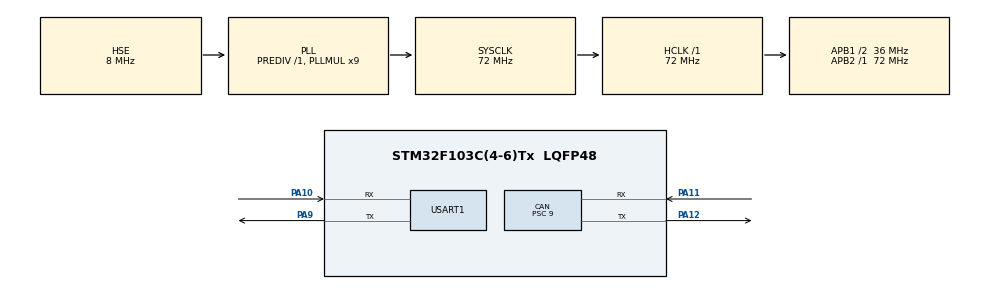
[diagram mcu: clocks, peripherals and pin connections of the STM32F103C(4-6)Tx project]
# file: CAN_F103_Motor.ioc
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CAN.BS1=CAN_BS1_5TQ
CAN.BS2=CAN_BS2_2TQ
CAN.CalculateBaudRate=500000
CAN.CalculateTimeBit=2000
CAN.CalculateTimeQuantum=250.0
CAN.Prescaler=9
Mcu.Family=STM32F1
Mcu.Name=STM32F103C(4-6)Tx
Mcu.Package=LQFP48
NVIC.PriorityGroup=NVIC_PRIORITYGROUP_4
NVIC.USB_LP_CAN1_RX0_IRQn=true\:0\:0\:false\:false\:true\:true\:true\:true
PA10.Mode=Asynchronous
PA10.Signal=USART1_RX
PA11.Mode=CAN_Activate
PA11.Signal=CAN_RX
PA12.Mode=CAN_Activate
PA12.Signal=CAN_TX
PA13.Mode=Serial_Wire
PA13.Signal=SYS_JTMS-SWDIO
PA14.Mode=Serial_Wire
PA14.Signal=SYS_JTCK-SWCLK
PA9.Mode=Asynchronous
PA9.Signal=USART1_TX
PD0-OSC_IN.Mode=HSE-External-Oscillator
PD0-OSC_IN.Signal=RCC_OSC_IN
PD1-OSC_OUT.Mode=HSE-External-Oscillator
PD1-OSC_OUT.Signal=RCC_OSC_OUT
ProjectManager.HeapSize=0x200
ProjectManager.StackSize=0x400
ProjectManager.TargetToolchain=STM32CubeIDE
RCC.AHBFreq_Value=72000000
RCC.APB1CLKDivider=RCC_HCLK_DIV2
RCC.APB1Freq_Value=36000000
RCC.APB1TimFreq_Value=72000000
RCC.APB2Freq_Value=72000000
RCC.APB2TimFreq_Value=72000000
RCC.HCLKFreq_Value=72000000
RCC.PLLMUL=RCC_PLL_MUL9
RCC.PLLSourceVirtual=RCC_PLLSOURCE_HSE
RCC.SYSCLKFreq_VALUE=72000000
RCC.SYSCLKSource=RCC_SYSCLKSOURCE_PLLCLK
RCC.USBFreq_Value=72000000
USART1.VirtualMode=VM_ASYNC
board=custom

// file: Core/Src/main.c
/* USER CODE BEGIN Header */
/**
 ******************************************************************************
 * @file           : main.c
 * @brief          : Main program body
 ******************************************************************************
 * @attention
 *
 * Copyright (c) 2023 STMicroelectronics.
 * All rights reserved.
 *
 * This software is licensed under terms that can be found in the LICENSE file
 * in the root directory of this software component.
 * If no LICENSE file comes with this software, it is provided AS-IS.
 *
 ******************************************************************************
 */
/* USER CODE END Header */
#include "main.h"

CAN_HandleTypeDef hcan;

UART_HandleTypeDef huart1;

/* USER CODE BEGIN PV */
CAN_TxHeaderTypeDef TxHeader;
CAN_RxHeaderTypeDef RxHeader;

uint8_t TxData[8];
uint8_t RxData[8];

uint32_t TxMailbox;

char message[100];
/* USER CODE END PV */

void SystemClock_Config(void);
static void MX_GPIO_Init(void);
static void MX_CAN_Init(void);
static void MX_USART1_UART_Init(void);
/* USER CODE BEGIN PFP */
void HAL_CAN_RxFifo0MsgPendingCallback(CAN_HandleTypeDef *hcan) {
	HAL_CAN_GetRxMessage(hcan, CAN_RX_FIFO0, &RxHeader, RxData);

	int j=0;
	j = sprintf(message, "%s ", "Speed");
	j += sprintf(message+j, "%d \r\n", RxData[4]);

	HAL_UART_Transmit(&huart1,(uint8_t *)message,strlen(message),100);
}
/* USER CODE END PFP */

int main(void) {

	/* MCU Configuration--------------------------------------------------------*/

	/* Reset of all peripherals, Initializes the Flash interface and the Systick. */
	HAL_Init();

	/* Configure the system clock */
	SystemClock_Config();

	/* Initialize all configured peripherals */
	MX_GPIO_Init();
	MX_CAN_Init();
	MX_USART1_UART_Init();
	/* USER CODE BEGIN 2 */
	HAL_CAN_Start(&hcan);

	HAL_CAN_ActivateNotification(&hcan, CAN_IT_RX_FIFO0_MSG_PENDING);

	TxHeader.DLC = 2;
	TxHeader.IDE = CAN_ID_STD;
	TxHeader.RTR = CAN_RTR_DATA;
	TxHeader.StdId = 0x000;

	uint8_t reset[] = { 01, 82 };
	HAL_CAN_AddTxMessage(&hcan, &TxHeader, reset, &TxMailbox);

	uint8_t operationalmode[] = { 01, 01 };
	HAL_CAN_AddTxMessage(&hcan, &TxHeader, operationalmode, &TxMailbox);
	HAL_Delay(1000);

	TxHeader.DLC = 8;
	TxHeader.StdId = 0x601;
	uint8_t synchronousMode[] = { 0x2B, 0x0F, 0x20, 0x00, 0x00, 0x00, 0x00, 0x00 };// set asynchronous mode
	uint8_t velocityMode[] = { 0x2F, 0x60, 0x60, 0x00, 0x03, 0x00, 0x00, 0x00 };// set asynchronous mode
	uint8_t accOfLeftMotor[] = { 0x23, 0x83, 0x60, 0x01, 0x64, 0x00, 0x00, 0x00 };// set asynchronous mode
	uint8_t accOfRightMotor[] = { 0x23, 0x83, 0x60, 0x02, 0x64, 0x00, 0x00, 0x00 };// set asynchronous mode
	uint8_t decOfLeftMotor[] = { 0x23, 0x84, 0x60, 0x01, 0x64, 0x00, 0x00, 0x00 };// set asynchronous mode
	uint8_t decOfRightMotor[] = { 0x23, 0x84, 0x60, 0x02, 0x64, 0x00, 0x00, 0x00 };// set asynchronous mode
	uint8_t enable1[] = { 0x2B, 0x40, 0x60, 0x00, 0x06, 0x00, 0x00, 0x00 };// set asynchronous mode
	uint8_t enable2[] = { 0x2B, 0x40, 0x60, 0x00, 0x07, 0x00, 0x00, 0x00 };// set asynchronous mode
	uint8_t enable3[] = { 0x2B, 0x40, 0x60, 0x00, 0x0F, 0x00, 0x00, 0x00 };// set asynchronous mode
	uint8_t speedOfLeftMotor[] = { 0x23, 0xFF, 0x60, 0x01, 0x0A, 0x00, 0x00, 0x00 };// set asynchronous mode
	//uint8_t speedOfRightMotor[] = { 0x23, 0xFF, 0x60, 0x01, 0x00, 0x00, 0x00, 0x00 };// set asynchronous mode
	uint8_t stopLeftMotor[] = { 0x2B, 0x40, 0x60, 0x00, 0x00, 0x00, 0x00, 0x00 };// set asynchronous mode

	HAL_CAN_AddTxMessage(&hcan, &TxHeader, synchronousMode, &TxMailbox);
	HAL_Delay(1000);
	HAL_CAN_AddTxMessage(&hcan, &TxHeader, velocityMode, &TxMailbox);
	HAL_Delay(1000);
	HAL_CAN_AddTxMessage(&hcan, &TxHeader, accOfLeftMotor, &TxMailbox);
	HAL_Delay(1000);
	HAL_CAN_AddTxMessage(&hcan, &TxHeader, accOfRightMotor, &TxMailbox);
	HAL_Delay(1000);
	HAL_CAN_AddTxMessage(&hcan, &TxHeader, decOfLeftMotor, &TxMailbox);
	HAL_Delay(1000);
	HAL_CAN_AddTxMessage(&hcan, &TxHeader, decOfRightMotor, &TxMailbox);
	HAL_Delay(1000);
	HAL_CAN_AddTxMessage(&hcan, &TxHeader, enable1, &TxMailbox);
	HAL_Delay(1000);
	HAL_CAN_AddTxMessage(&hcan, &TxHeader, enable2, &TxMailbox);
	HAL_Delay(1000);
	HAL_CAN_AddTxMessage(&hcan, &TxHeader, enable3, &TxMailbox);
	HAL_Delay(1000);
	HAL_CAN_AddTxMessage(&hcan, &TxHeader, speedOfLeftMotor, &TxMailbox);
	HAL_Delay(5000);

//	TxHeader.DLC = 8;
//	TxHeader.StdId = 0x601;
//	uint8_t speed[] = { 0x40, 0x6C, 0x60, 0x01, 0x00, 0x00, 0x00, 0x00 };// set heart beat rate
//	HAL_CAN_AddTxMessage(&hcan, &TxHeader, heartbeat, &TxMailbox);
	/* USER CODE END 2 */

	/* Infinite loop */
	while (1) {

		/* USER CODE BEGIN 3 */
		HAL_Delay(10000);
		HAL_CAN_AddTxMessage(&hcan, &TxHeader, stopLeftMotor, &TxMailbox);

//		TxHeader.DLC = 8;
//		TxHeader.StdId = 0x601;
//		uint8_t speed[] = { 0x40, 0x6C, 0x60, 0x01, 0x00, 0x00, 0x00, 0x00 };// set heart beat rate
//		HAL_CAN_AddTxMessage(&hcan, &TxHeader, speed, &TxMailbox);
//		HAL_Delay(1000);
	}
	/* USER CODE END 3 */
}

void SystemClock_Config(void) {
	RCC_OscInitTypeDef RCC_OscInitStruct = { 0 };
	RCC_ClkInitTypeDef RCC_ClkInitStruct = { 0 };

	/** Initializes the RCC Oscillators according to the specified parameters
	 * in the RCC_OscInitTypeDef structure.
	 */
	RCC_OscInitStruct.OscillatorType = RCC_OSCILLATORTYPE_HSE;
	RCC_OscInitStruct.HSEState = RCC_HSE_ON;
	RCC_OscInitStruct.HSEPredivValue = RCC_HSE_PREDIV_DIV1;
	RCC_OscInitStruct.HSIState = RCC_HSI_ON;
	RCC_OscInitStruct.PLL.PLLState = RCC_PLL_ON;
	RCC_OscInitStruct.PLL.PLLSource = RCC_PLLSOURCE_HSE;
	RCC_OscInitStruct.PLL.PLLMUL = RCC_PLL_MUL9;
	if (HAL_RCC_OscConfig(&RCC_OscInitStruct) != HAL_OK) {
		Error_Handler();
	}

	/** Initializes the CPU, AHB and APB buses clocks
	 */
	RCC_ClkInitStruct.ClockType = RCC_CLOCKTYPE_HCLK | RCC_CLOCKTYPE_SYSCLK
			| RCC_CLOCKTYPE_PCLK1 | RCC_CLOCKTYPE_PCLK2;
	RCC_ClkInitStruct.SYSCLKSource = RCC_SYSCLKSOURCE_PLLCLK;
	RCC_ClkInitStruct.AHBCLKDivider = RCC_SYSCLK_DIV1;
	RCC_ClkInitStruct.APB1CLKDivider = RCC_HCLK_DIV2;
	RCC_ClkInitStruct.APB2CLKDivider = RCC_HCLK_DIV1;

	if (HAL_RCC_ClockConfig(&RCC_ClkInitStruct, FLASH_LATENCY_2) != HAL_OK) {
		Error_Handler();
	}
}

static void MX_CAN_Init(void) {

	hcan.Instance = CAN1;
	hcan.Init.Prescaler = 9;
	hcan.Init.Mode = CAN_MODE_NORMAL;
	hcan.Init.SyncJumpWidth = CAN_SJW_1TQ;
	hcan.Init.TimeSeg1 = CAN_BS1_5TQ;
	hcan.Init.TimeSeg2 = CAN_BS2_2TQ;
	hcan.Init.TimeTriggeredMode = DISABLE;
	hcan.Init.AutoBusOff = DISABLE;
	hcan.Init.AutoWakeUp = DISABLE;
	hcan.Init.AutoRetransmission = DISABLE;
	hcan.Init.ReceiveFifoLocked = DISABLE;
	hcan.Init.TransmitFifoPriority = DISABLE;
	if (HAL_CAN_Init(&hcan) != HAL_OK) {
		Error_Handler();
	}
	/* USER CODE BEGIN CAN_Init 2 */
	CAN_FilterTypeDef canfilterconfig;

	canfilterconfig.FilterActivation = CAN_FILTER_ENABLE;
	canfilterconfig.FilterBank = 10;
	canfilterconfig.FilterFIFOAssignment = CAN_FilterFIFO0;
	canfilterconfig.FilterIdHigh = 0x000 << 5;
	canfilterconfig.FilterIdLow = 0;
	canfilterconfig.FilterMaskIdHigh = 0x00 << 5;
	canfilterconfig.FilterMaskIdLow = 0x0000;
	canfilterconfig.FilterMode = CAN_FILTERMODE_IDMASK;
	canfilterconfig.FilterScale = CAN_FILTERSCALE_32BIT;
	canfilterconfig.SlaveStartFilterBank = 13;

	HAL_CAN_ConfigFilter(&hcan, &canfilterconfig);
	/* USER CODE END CAN_Init 2 */

}

static void MX_USART1_UART_Init(void) {

	huart1.Instance = USART1;
	huart1.Init.BaudRate = 115200;
	huart1.Init.WordLength = UART_WORDLENGTH_8B;
	huart1.Init.StopBits = UART_STOPBITS_1;
	huart1.Init.Parity = UART_PARITY_NONE;
	huart1.Init.Mode = UART_MODE_TX_RX;
	huart1.Init.HwFlowCtl = UART_HWCONTROL_NONE;
	huart1.Init.OverSampling = UART_OVERSAMPLING_16;
	if (HAL_UART_Init(&huart1) != HAL_OK) {
		Error_Handler();
	}

}

static void MX_GPIO_Init(void) {

	/* GPIO Ports Clock Enable */
	__HAL_RCC_GPIOD_CLK_ENABLE();
	__HAL_RCC_GPIOA_CLK_ENABLE();

}

void Error_Handler(void) {
	__disable_irq();
	while (1) {
	}
}
